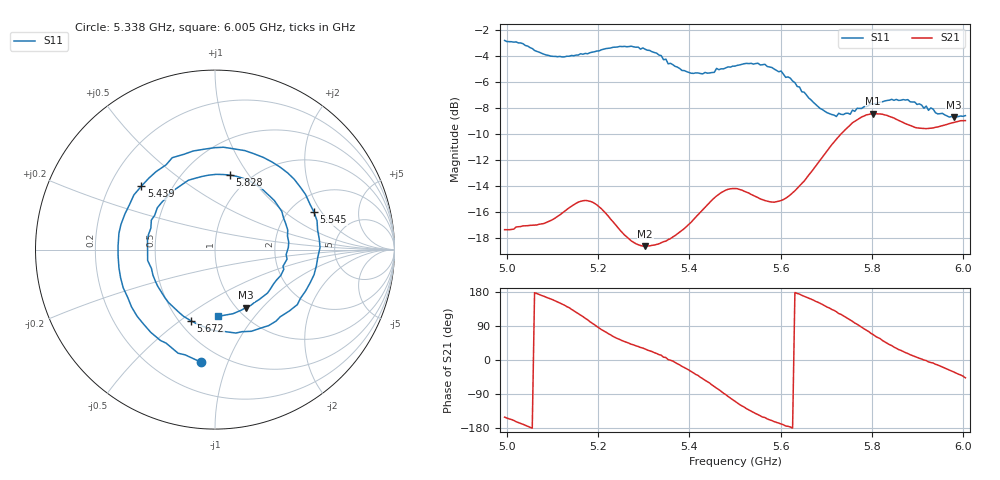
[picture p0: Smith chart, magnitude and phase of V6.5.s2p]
!File created by NanoVNA
# Hz S RI R 50
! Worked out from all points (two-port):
!   201 points, 4.995 GHz to 6.005 GHz, reference 50 ohm
!   highest |S21| = -8.43 dB at 5.803 GHz (marker M1); lowest = -18.6 dB at 5.303 GHz (marker M2)
!   |S21| within 3 dB of the highest: 5.699 GHz to end of sweep
!   lowest |S11| = -8.7 dB at 5.98 GHz (marker M3), VSWR 2.16, Z = 54.9 - j41 ohm
!   |S11| at or under -10 dB: nowhere
!   S12 and S22 are empty: the file has one direction only
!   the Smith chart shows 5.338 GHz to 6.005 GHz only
!   S11 on the Smith chart (normalised r, x): 5.338 GHz: 0.39, -0.81; 5.439 GHz: 0.33, +0.34; 5.545 GHz: 2.66, +1.71; 5.672 GHz: 0.57, -0.55; 5.828 GHz: 0.81, +0.82; 6.005 GHz: 0.78, -0.68
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4.995e9  0.2262 -0.6864  -0.1187 -0.0664  0 0  0 0
5.03035e9  -0.262 -0.6566  -0.1365 -0.0305  0 0  0 0
5.08085e9  -0.6368 -0.0681  -0.1406 0.0289  0 0  0 0
5.13135e9  -0.3411 0.5282  -0.1259 0.1025  0 0  0 0
5.1667e9  0.102 0.6316  -0.0728 0.1598  0 0  0 0
5.2374e9  0.6759 0.0826  0.0728 0.1225  0 0  0 0
5.30305e9  0.3427 -0.5744  0.1028 0.057  0 0  0 0
5.33335e9  -0.026 -0.6348  0.1164 0.0294  0 0  0 0
5.3384e9  -0.0777 -0.6274  0.1183 0.0263  0 0  0 0
5.3889e9  -0.5115 -0.2125  0.1292 -0.0466  0 0  0 0
5.4394e9  -0.4096 0.3541  0.0914 -0.1424  0 0  0 0
5.5e9  0.2141 0.5351  -0.0635 -0.185  0 0  0 0
5.54545e9  0.5511 0.2096  -0.1425 -0.1136  0 0  0 0
5.6212e9  0.2991 -0.4234  -0.1846 -0.0107  0 0  0 0
5.6717e9  -0.1341 -0.3966  -0.2152 0.0862  0 0  0 0
5.7424e9  -0.3761 0.0523  -0.1277 0.304  0 0  0 0
5.803e9  -0.1097 0.3976  0.1479 0.3489  0 0  0 0
5.82825e9  0.0843 0.4152  0.2512 0.278  0 0  0 0
5.83835e9  0.1517 0.3988  0.2798 0.2416  0 0  0 0
5.904e9  0.4108 0.0416  0.3322 0.027  0 0  0 0
5.97975e9  0.173 -0.323  0.2981 -0.1844  0 0  0 0
6.005e9  0.0195 -0.3717  0.2429 -0.2606  0 0  0 0
